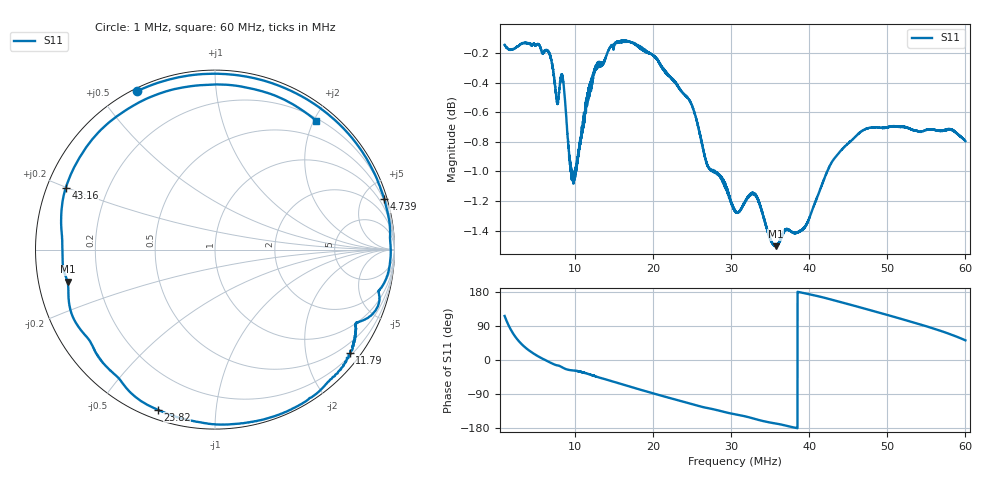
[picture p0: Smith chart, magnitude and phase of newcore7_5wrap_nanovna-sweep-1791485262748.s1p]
! NanoVNA Web complex sweep
! Processing: unaveraged complex samples; linear segment spacing; no smoothing
# Hz S RI R 50
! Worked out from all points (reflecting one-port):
!   5050 points, 1 MHz to 60 MHz, reference 50 ohm
!   lowest |S11| = -1.5 dB at 35.73 MHz (marker M1), VSWR 11.58, Z = 4.37 - j5.35 ohm
!   phase of S11 starts at 116 deg and turns -424 deg over the sweep
!   S11 on the Smith chart (normalised r, x): 1 MHz: 0.01, +0.62; 4.739 MHz: 0.38, +6.84; 11.79 MHz: 0.27, -2.92; 23.82 MHz: 0.04, -0.70; 43.16 MHz: 0.05, +0.20; 60 MHz: 0.24, +2.03
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1000000  -0.4347 0.8822
1198645  -0.2683 0.9442
1712785  0.1161 0.9727
2168500  0.3777 0.9047
2659270  0.5824 0.7909
3582385  0.8153 0.5528
4739200  0.9434 0.2812
6433525  0.9781 -0.0435
8384920  0.9054 -0.3198
9553420  0.792 -0.4067
1.045316e7  0.7834 -0.4524
1.178526e7  0.7495 -0.5751
1.575816e7  0.4538 -0.8748
1.95441e7  0.0823 -0.9733
2.313139e7  -0.261 -0.9166
2.38208e7  -0.3196 -0.8918
2.607601e7  -0.4942 -0.7707
3.050462e7  -0.6928 -0.5172
3.329734e7  -0.8038 -0.3427
3.572782e7  -0.8217 -0.1793
3.787786e7  -0.8492 -0.0392
4.315948e7  -0.8319 0.3432
4.52511e7  -0.7561 0.5103
4.892018e7  -0.5292 0.7551
5.262433e7  -0.2134 0.8969
5.67024e7  0.1959 0.8987
5.829156e7  0.3713 0.8422
5.999756e7  0.5629 0.7182
